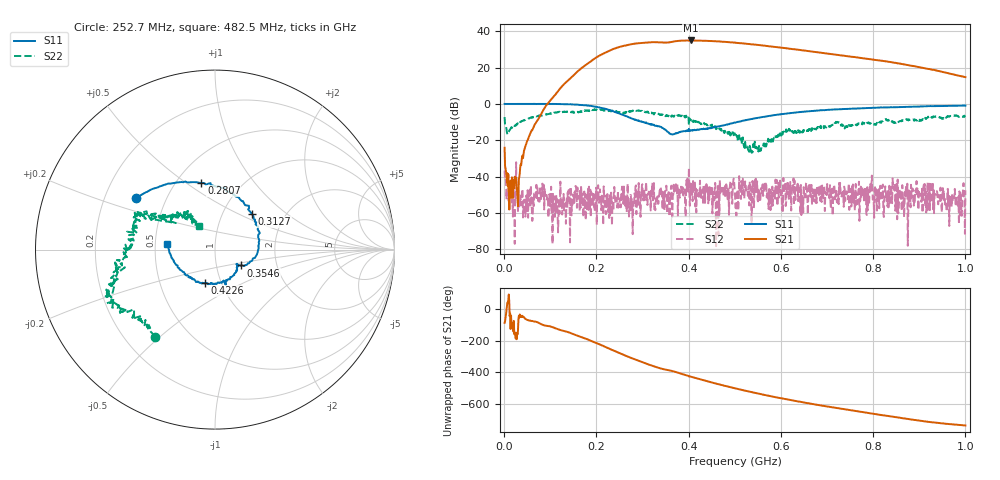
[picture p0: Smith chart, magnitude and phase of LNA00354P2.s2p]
! Created with skrf 1.9.0 (http://scikit-rf.org).
# Hz S RI R 50.0
!freq ReS11 ImS11 ReS21 ImS21 ReS12 ImS12 ReS22 ImS22
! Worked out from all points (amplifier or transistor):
!   1001 points, 1 MHz to 1 GHz, reference 50 ohm
!   highest |S21| = 34.9 dB at 404.6 MHz (marker M1)
!   |S21| within 3 dB of that: 259.1 MHz to 569.2 MHz (310.1 MHz wide, 74.9 % of centre)
!   unconditionally stable (mu >= 1): 239.1 MHz to 299.3 MHz; 299.8 MHz to 400.2 MHz; 400.9 MHz to end of sweep (the widest 3 of 34)
!   at 166.8 MHz: K = 0.58, MSG = 32.2 dB, |S12| = -44.8 dB
!   at 500.5 MHz: K = 2.91, MAG = 34.3 dB, |S12| = -49.8 dB
!   at 1 GHz: K = 3.16, MAG = 23.3 dB, |S12| = -47.6 dB
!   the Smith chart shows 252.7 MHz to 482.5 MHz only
!   S11 on the Smith chart (normalised r, x): 252.7 MHz: 0.34, +0.27; 280.7 MHz: 0.66, +0.57; 312.7 MHz: 1.37, +0.59; 354.6 MHz: 1.32, -0.24; 422.6 MHz: 0.84, -0.32; 482.5 MHz: 0.58, +0.04
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1000000  0.9988 0.00881  0.00382 -0.0618  -0.0141 0.00389  0.3243 0.2854
1.08892e8  0.5096 -0.8551  -0.7947 -1.485  -0.00259 0.00116  0.4294 -0.377
1.67833e8  -0.2578 -0.8941  -9.694 -0.5573  0.00116 -0.00224  0.0482 -0.6281
2.12788e8  -0.7031 -0.3083  -14.82 18.15  -0.000596 -0.00253  -0.2116 -0.6413
2.32768e8  -0.6474 0.0296  -7.043 30.12  -0.00127 -0.00234  -0.2642 -0.5861
2.52748e8  -0.439 0.2875  7.547 37.08  0.000967 0.00104  -0.3336 -0.4851
2.8072e8  -0.0752 0.3716  31.85 31.86  -0.00146 7.82e-05  -0.5465 -0.3061
3.12688e8  0.2065 0.1982  48.52 8.368  -0.000117 0.00332  -0.5417 -0.1644
3.34666e8  0.2431 0.00675  48.75 -9.98  -0.00127 0.00129  -0.5193 -0.0597
3.54646e8  0.1457 -0.0881  44.09 -21.43  -0.00172 0.0032  -0.4571 0.0477
3.75625e8  0.1244 -0.1001  40.4 -35.9  0.00207 0.00577  -0.4478 0.1822
4.04596e8  0.0375 -0.1847  21.04 -51.72  0.0018 0.00614  -0.3084 0.1894
4.22578e8  -0.0557 -0.1857  6.876 -54.81  0.00329 0.00136  -0.2527 0.1875
4.49551e8  -0.1791 -0.124  -13.23 -52.01  0.00407 0.00152  -0.155 0.1961
4.82518e8  -0.2668 0.0294  -31.61 -39.52  0.00434 0.00264  -0.0911 0.1336
5.005e8  -0.2734 0.1298  -38.31 -30.39  -0.00319 -0.000417  -0.0966 0.1327
5.4046e8  -0.1931 0.3439  -42.41 -8.842  0.00685 0.00191  -0.0752 0.026
5.88412e8  0.0186 0.4964  -35.26 11.42  0.00323 -0.00759  -0.105 -0.0894
6.67333e8  0.399 0.4962  -13.55 23.96  0.000209 -0.00164  -0.2024 -0.058
7.53247e8  0.6817 0.2814  3.986 19.51  -0.00152 -0.000268  -0.2628 -0.018
8.34166e8  0.8017 0.0143  10.7 9.661  -0.00326 0.000573  -0.3458 -0.0494
1e9  0.7268 -0.5248  5.219 -1.598  -0.00416 -0.000115  -0.3882 0.2531
